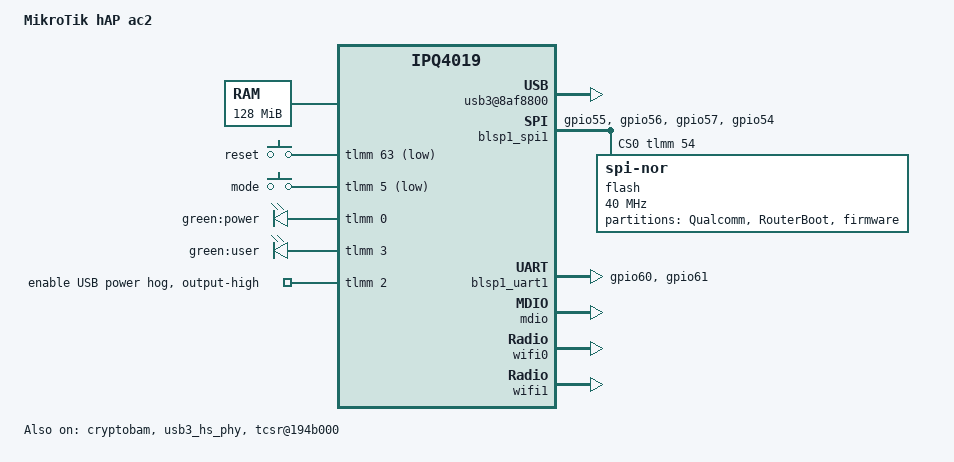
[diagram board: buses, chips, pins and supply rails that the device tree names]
// SPDX-License-Identifier: GPL-2.0-or-later OR MIT
/* Copyright (c) 2020, Robert Marko <robimarko@gmail.com> */

#include "qcom-ipq4019.dtsi"
#include <dt-bindings/gpio/gpio.h>
#include <dt-bindings/input/input.h>
#include <dt-bindings/soc/qcom,tcsr.h>

/ {
	model = "MikroTik hAP ac2";
	compatible = "mikrotik,hap-ac2";

	memory {
		device_type = "memory";
		reg = <0x80000000 0x08000000>;
	};

	chosen {
		stdout-path = "serial0:115200n8";
	};

	aliases {
		led-boot = &led_user;
		led-failsafe = &led_user;
		led-running = &led_user;
		led-upgrade = &led_user;
	};

	soc {
		rng@22000 {
			status = "okay";
		};

		counter@4a1000 {
			compatible = "qcom,qca-gcnt";
			reg = <0x4a1000 0x4>;
		};

		tcsr@1949000 {
			compatible = "qcom,tcsr";
			reg = <0x1949000 0x100>;
			qcom,wifi_glb_cfg = <TCSR_WIFI_GLB_CFG>;
		};

		tcsr@194b000 {
			/* select hostmode */
			compatible = "qcom,tcsr";
			reg = <0x194b000 0x100>;
			qcom,usb-hsphy-mode-select = <TCSR_USB_HSPHY_HOST_MODE>;
			status = "okay";
		};

		ess_tcsr@1953000 {
			compatible = "qcom,tcsr";
			reg = <0x1953000 0x1000>;
			qcom,ess-interface-select = <TCSR_ESS_PSGMII>;
		};

		tcsr@1957000 {
			compatible = "qcom,tcsr";
			reg = <0x1957000 0x100>;
			qcom,wifi_noc_memtype_m0_m2 = <TCSR_WIFI_NOC_MEMTYPE_M0_M2>;
		};

		usb3@8af8800 {
			status = "okay";

			dwc3@8a00000 {
				phys = <&usb3_hs_phy>;
				phy-names = "usb2-phy";
			};
		};

		crypto@8e3a000 {
			status = "okay";
		};

		watchdog@b017000 {
			status = "okay";
		};

		ess-switch@c000000 {
			status = "okay";
		};

		edma@c080000 {
			status = "okay";
		};
	};

	keys {
		compatible = "gpio-keys";

		reset {
			label = "reset";
			gpios = <&tlmm 63 GPIO_ACTIVE_LOW>;
			linux,code = <KEY_RESTART>;
		};

		mode {
			label = "mode";
			gpios = <&tlmm 5 GPIO_ACTIVE_LOW>;
			linux,code = <KEY_RFKILL>;
		};
	};

	leds {
		compatible = "gpio-leds";

		power {
			label = "green:power";
			gpios = <&tlmm 0 GPIO_ACTIVE_HIGH>;
			default-state = "keep";
			panic-indicator;
		};

		led_user: user {
			label = "green:user";
			gpios = <&tlmm 3 GPIO_ACTIVE_HIGH>;
		};
	};
};

&tlmm {
	serial_pins: serial_pinmux {
		mux {
			pins = "gpio60", "gpio61";
			function = "blsp_uart0";
			bias-disable;
		};
	};

	spi_0_pins: spi_0_pinmux {
		pin {
			function = "blsp_spi0";
			pins = "gpio55", "gpio56", "gpio57";
			drive-strength = <2>;
			bias-disable;
		};
		pin_cs {
			function = "gpio";
			pins = "gpio54";
			drive-strength = <2>;
			bias-disable;
			output-high;
		};
	};

	enable-usb-power {
		gpio-hog;
		gpios = <2 GPIO_ACTIVE_HIGH>;
		output-high;
		line-name = "enable USB power";
	};
};

&blsp_dma {
	status = "okay";
};

&blsp1_spi1 {
	status = "okay";

	pinctrl-0 = <&spi_0_pins>;
	pinctrl-names = "default";
	cs-gpios = <&tlmm 54 GPIO_ACTIVE_HIGH>;

	flash@0 {
		reg = <0>;
		compatible = "jedec,spi-nor";
		spi-max-frequency = <40000000>;

		partitions {
			compatible = "fixed-partitions";
			#address-cells = <1>;
			#size-cells = <1>;

			partition@0 {
				label = "Qualcomm";
				reg = <0x0 0x80000>;
				read-only;
			};

			partition@80000 {
				compatible = "mikrotik,routerboot-partitions";
				#address-cells = <1>;
				#size-cells = <1>;
				label = "RouterBoot";
				reg = <0x80000 0x80000>;
				read-only;

				hard_config {
					read-only;
					size = <0x2000>;
				};

				dtb_config {
					read-only;
				};

				soft_config {
				};
			};

			partition@100000 {
				compatible = "mikrotik,minor";
				label = "firmware";
				reg = <0x100000 0xf00000>;
			};
		};
	};
};

&blsp1_uart1 {
	status = "okay";

	pinctrl-0 = <&serial_pins>;
	pinctrl-names = "default";
};

&cryptobam {
	status = "okay";
};

&usb3_hs_phy {
	status = "okay";
};

&mdio {
	status = "okay";
};

&ethphy0 {
	qcom,single-led-1000;
	qcom,single-led-100;
	qcom,single-led-10;
};

&ethphy1 {
	qcom,single-led-1000;
	qcom,single-led-100;
	qcom,single-led-10;
};

&ethphy2 {
	qcom,single-led-1000;
	qcom,single-led-100;
	qcom,single-led-10;
};

&ethphy3 {
	qcom,single-led-1000;
	qcom,single-led-100;
	qcom,single-led-10;
};

&ethphy4 {
	qcom,single-led-1000;
	qcom,single-led-100;
	qcom,single-led-10;
};

&wifi0 {
	status = "okay";

	qcom,ath10k-calibration-variant = "MikroTik-hAP-ac2";
};

&wifi1 {
	status = "okay";

	qcom,ath10k-calibration-variant = "MikroTik-hAP-ac2";
};
